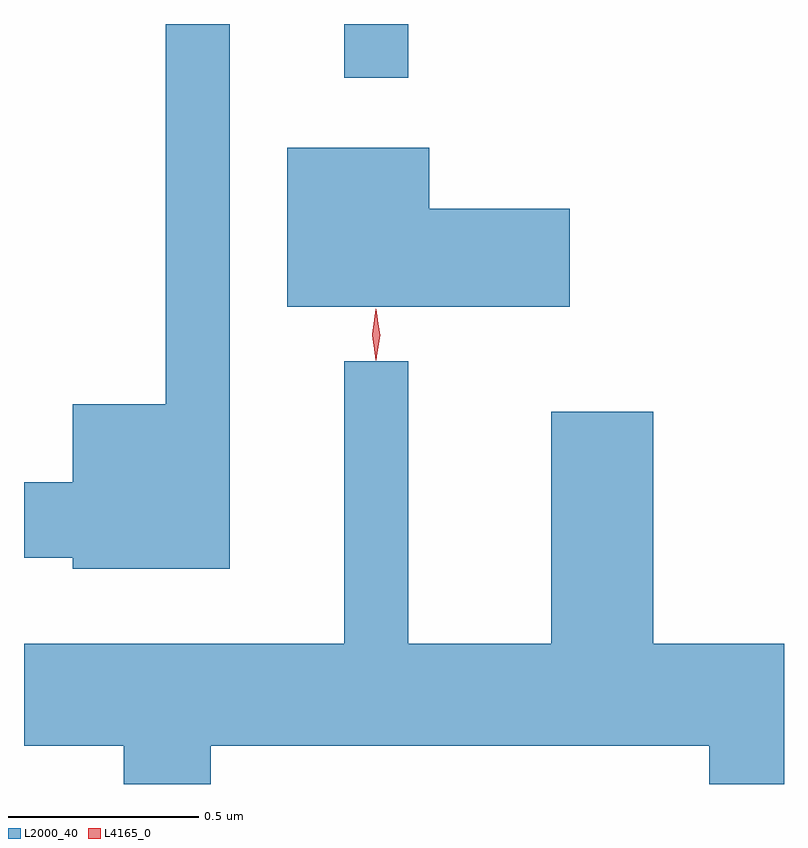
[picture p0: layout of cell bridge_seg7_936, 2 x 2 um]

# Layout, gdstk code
import gdstk
lib = gdstk.Library(unit=1e-6, precision=1e-09)
def R(c, l, rs):  # rectangles x0, y0, x1, y1
    for r in rs: c.add(gdstk.rectangle(r[:2], r[2:], *l))
def P(c, l, *ps):  # polygons
    for p in ps: c.add(gdstk.Polygon(p, *l))
L2000_40 = (2000, 40)
L4165_0 = (4165, 0)

bridge_seg7_936 = lib.new_cell('bridge_seg7_936')
R(bridge_seg7_936, L2000_40, [(474.271,1676.113,474.439,1676.255)])
P(bridge_seg7_936, L2000_40, [(473.969,1676.255),(473.801,1676.255),(473.801,1675.254),(473.556,1675.254),(473.556,1675.049),(473.428,1675.049),(473.428,1674.851),(473.556,1674.851),(473.556,1674.821),(473.969,1674.821)],
  [(474.864,1675.769),(474.494,1675.769),(474.494,1675.929),(474.121,1675.929),(474.121,1675.511),(474.864,1675.511)],
  [(473.919,1674.356),(475.231,1674.356),(475.231,1674.255),(475.428,1674.255),(475.428,1674.624),(475.084,1674.624),(475.084,1675.234),(474.816,1675.234),(474.816,1674.624),(474.439,1674.624),(474.439,1675.368),(474.271,1675.368),(474.271,1674.624),(473.428,1674.624),(473.428,1674.356),(473.691,1674.356),(473.691,1674.255),(473.919,1674.255)])
P(bridge_seg7_936, L4165_0, [(474.354,1675.37),(474.345,1675.438),(474.354,1675.505),(474.354,1675.506),(474.355,1675.505),(474.364,1675.438),(474.355,1675.37),(474.355,1675.37)],
  [(474.354,1675.373),(474.345,1675.436),(474.354,1675.499),(474.354,1675.5),(474.355,1675.499),(474.365,1675.436),(474.355,1675.373),(474.355,1675.373)])

lib.write_gds('bridge_seg7_936.gds')
